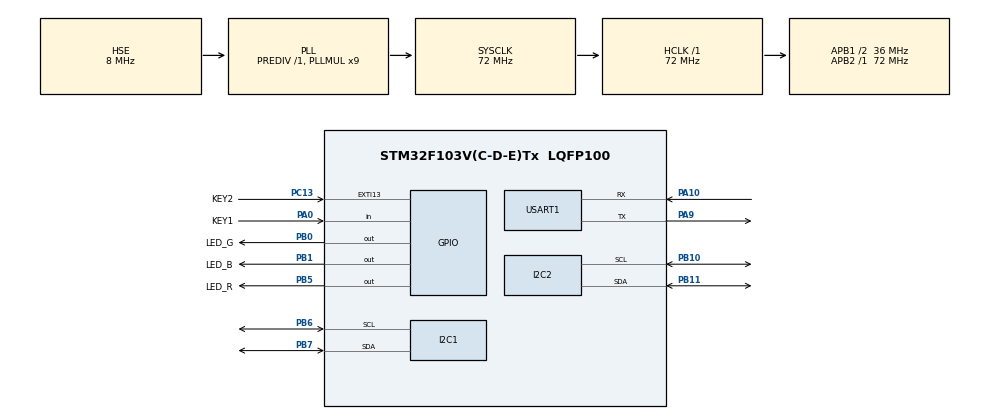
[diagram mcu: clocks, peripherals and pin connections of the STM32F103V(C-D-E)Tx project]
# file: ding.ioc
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Mcu.Family=STM32F1
Mcu.Name=STM32F103V(C-D-E)Tx
Mcu.Package=LQFP100
NVIC.EXTI15_10_IRQn=true\:6\:0\:true\:false\:true\:true\:true
NVIC.PriorityGroup=NVIC_PRIORITYGROUP_4
NVIC.TIM2_IRQn=true\:0\:0\:false\:false\:true\:false\:true
NVIC.TimeBase=TIM2_IRQn
NVIC.TimeBaseIP=TIM2
NVIC.USART1_IRQn=true\:5\:0\:true\:false\:true\:true\:true
OSC_IN.Mode=HSE-External-Oscillator
OSC_IN.Signal=RCC_OSC_IN
OSC_OUT.Mode=HSE-External-Oscillator
OSC_OUT.Signal=RCC_OSC_OUT
PA0-WKUP.GPIO_Label=KEY1
PA0-WKUP.Signal=GPIO_Input
PA10.Mode=Asynchronous
PA10.Signal=USART1_RX
PA13.Mode=Serial_Wire
PA13.Signal=SYS_JTMS-SWDIO
PA14.Mode=Serial_Wire
PA14.Signal=SYS_JTCK-SWCLK
PA9.Mode=Asynchronous
PA9.Signal=USART1_TX
PB0.GPIO_Label=LED_G
PB0.GPIO_Speed=GPIO_SPEED_FREQ_HIGH
PB0.PinState=GPIO_PIN_SET
PB0.Signal=GPIO_Output
PB1.GPIO_Label=LED_B
PB1.GPIO_Speed=GPIO_SPEED_FREQ_HIGH
PB1.PinState=GPIO_PIN_SET
PB1.Signal=GPIO_Output
PB10.Mode=I2C
PB10.Signal=I2C2_SCL
PB11.Mode=I2C
PB11.Signal=I2C2_SDA
PB5.GPIO_Label=LED_R
PB5.GPIO_Speed=GPIO_SPEED_FREQ_HIGH
PB5.PinState=GPIO_PIN_SET
PB5.Signal=GPIO_Output
PB6.Mode=I2C
PB6.Signal=I2C1_SCL
PB7.Mode=I2C
PB7.Signal=I2C1_SDA
PC13-TAMPER-RTC.GPIO_Label=KEY2
PC13-TAMPER-RTC.Signal=GPXTI13
ProjectManager.HeapSize=0x0
ProjectManager.StackSize=0x400
ProjectManager.TargetToolchain=MDK-ARM V5
RCC.AHBFreq_Value=72000000
RCC.APB1CLKDivider=RCC_HCLK_DIV2
RCC.APB1Freq_Value=36000000
RCC.APB1TimFreq_Value=72000000
RCC.APB2Freq_Value=72000000
RCC.APB2TimFreq_Value=72000000
RCC.HCLKFreq_Value=72000000
RCC.PLLMUL=RCC_PLL_MUL9
RCC.PLLSourceVirtual=RCC_PLLSOURCE_HSE
RCC.SYSCLKFreq_VALUE=72000000
RCC.SYSCLKSource=RCC_SYSCLKSOURCE_PLLCLK
RCC.USBFreq_Value=72000000
USART1.VirtualMode=VM_ASYNC
VP_SYS_VS_tim2.Mode=TIM2
board=custom

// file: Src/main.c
/* USER CODE BEGIN Header */
/**
  ******************************************************************************
  * @file           : main.c
  * @brief          : Main program body
  ******************************************************************************
  * @attention
  *
  * <h2><center>&copy; Copyright (c) 2020 STMicroelectronics.
  * All rights reserved.</center></h2>
  *
  * This software component is licensed by ST under BSD 3-Clause license,
  * the "License"; You may not use this file except in compliance with the
  * License. You may obtain a copy of the License at:
  *                        opensource.org/licenses/BSD-3-Clause
  *
  ******************************************************************************
  */
/* USER CODE END Header */

#include "main.h"
#include "i2c.h"
#include "usart.h"
#include "gpio.h"

/* USER CODE BEGIN Includes */
#include "bsp_led.h"
#include "bsp_key.h"
#include "bsp_usart.h"

#include "FreeRTOS.h"
#include "task.h"
#include "queue.h"
#include "semphr.h"
#include "event_groups.h"

/* USER CODE END Includes */

void SystemClock_Config(void);
/* USER CODE BEGIN PFP */
void start_task(void *pvParameters);
void event_set_bit_task(void *pvParameters);
void event_group_task(void *pvParameters);

/* USER CODE END PFP */

/* USER CODE BEGIN 0 */
#define START_TASK_SIZE     256
#define START_TASK_PRIO     1
TaskHandle_t Start_Task_Handle;

#define EVENT_SET_BIT_TASK_SIZE   256
#define EVENT_SET_BIT_TASK_PRIO   2
TaskHandle_t event_set_bit_Task_Handle;

#define EVENT_GROUP_TASK_SIZE     256
#define EVENT_GROUP_TASK_PRIO     3
TaskHandle_t event_group_Task_Handle;

EventGroupHandle_t event_group_handle;    // 事件组

/* USER CODE END 0 */

int main(void)
{

  /* MCU Configuration--------------------------------------------------------*/

  /* Reset of all peripherals, Initializes the Flash interface and the Systick. */
  HAL_Init();

  /* Configure the system clock */
  SystemClock_Config();

  /* Initialize all configured peripherals */
  MX_GPIO_Init();
  MX_USART1_UART_Init();
  MX_I2C1_Init();
  MX_I2C2_Init();
  /* USER CODE BEGIN 2 */

  // 创建开始任务
  xTaskCreate((TaskFunction_t ) start_task,
              (char *         ) "start_task",
              (uint16_t       ) START_TASK_SIZE,
              (void *         ) NULL,
              (UBaseType_t    ) START_TASK_PRIO,
              (TaskHandle_t * ) &Start_Task_Handle);

  vTaskStartScheduler();    // 开启调度器

  /* USER CODE END 2 */

  /* Infinite loop */
  while (1)
  {

  }
}

void SystemClock_Config(void)
{
  RCC_OscInitTypeDef RCC_OscInitStruct = {0};
  RCC_ClkInitTypeDef RCC_ClkInitStruct = {0};

  /** Initializes the CPU, AHB and APB busses clocks
  */
  RCC_OscInitStruct.OscillatorType = RCC_OSCILLATORTYPE_HSE;
  RCC_OscInitStruct.HSEState = RCC_HSE_ON;
  RCC_OscInitStruct.HSEPredivValue = RCC_HSE_PREDIV_DIV1;
  RCC_OscInitStruct.HSIState = RCC_HSI_ON;
  RCC_OscInitStruct.PLL.PLLState = RCC_PLL_ON;
  RCC_OscInitStruct.PLL.PLLSource = RCC_PLLSOURCE_HSE;
  RCC_OscInitStruct.PLL.PLLMUL = RCC_PLL_MUL9;
  if (HAL_RCC_OscConfig(&RCC_OscInitStruct) != HAL_OK)
  {
    Error_Handler();
  }
  /** Initializes the CPU, AHB and APB busses clocks
  */
  RCC_ClkInitStruct.ClockType = RCC_CLOCKTYPE_HCLK|RCC_CLOCKTYPE_SYSCLK
                              |RCC_CLOCKTYPE_PCLK1|RCC_CLOCKTYPE_PCLK2;
  RCC_ClkInitStruct.SYSCLKSource = RCC_SYSCLKSOURCE_PLLCLK;
  RCC_ClkInitStruct.AHBCLKDivider = RCC_SYSCLK_DIV1;
  RCC_ClkInitStruct.APB1CLKDivider = RCC_HCLK_DIV2;
  RCC_ClkInitStruct.APB2CLKDivider = RCC_HCLK_DIV1;

  if (HAL_RCC_ClockConfig(&RCC_ClkInitStruct, FLASH_LATENCY_2) != HAL_OK)
  {
    Error_Handler();
  }
}

/* USER CODE BEGIN 4 */

void start_task(void *pvParameters)
{
  taskENTER_CRITICAL();

  event_group_handle = xEventGroupCreate();   // 创建事件组
  if (event_group_handle != NULL)
  {
    printf("事件组创建成功\r\n");
  }

  // 创建设置事件位任务
  xTaskCreate((TaskFunction_t ) event_set_bit_task,
              (char *         ) "event_set_bit_task",
              (uint16_t       ) EVENT_SET_BIT_TASK_SIZE,
              (void *         ) NULL,
              (UBaseType_t    ) EVENT_SET_BIT_TASK_PRIO,
              (TaskHandle_t * ) &event_set_bit_Task_Handle);
  // 创建事件组任务
  xTaskCreate((TaskFunction_t ) event_group_task,
              (char *         ) "event_group_task",
              (uint16_t       ) EVENT_GROUP_TASK_SIZE,
              (void *         ) NULL,
              (UBaseType_t    ) EVENT_GROUP_TASK_PRIO,
              (TaskHandle_t * ) &event_group_Task_Handle);
  // 删除开始任务
  vTaskDelete(Start_Task_Handle);

  taskEXIT_CRITICAL();
}

void event_set_bit_task(void *pvParameters)
{
  EventBits_t event_value;
  for (;;)
  {
    if (key_scan(KEY1_GPIO_Port, KEY1_Pin) == KEY_ON)
    {
      xEventGroupSetBits(event_group_handle, EVENT_BIT_1);
      event_value = xEventGroupGetBits(event_group_handle);
      printf("发送事件位EVENT_BIT_1，事件位的值为%#X\n", event_value & (0X0F));
    }
    vTaskDelay(50);
  }
}

void event_group_task(void *pvParameters)
{
  EventBits_t uxBits;
  for (;;)
  {
    uxBits = xEventGroupWaitBits(event_group_handle,
					                       EVENT_BIT_1 | EVENT_BIT_2,
					                       pdTRUE,
                                 pdTRUE,
					                       portMAX_DELAY);
    printf("全部事件位获取成功，事件组的值为%#x\r\n", uxBits);
    vTaskDelay(50);
  }
}

/* USER CODE END 4 */

void HAL_TIM_PeriodElapsedCallback(TIM_HandleTypeDef *htim)
{
  if (htim->Instance == TIM2) {
    HAL_IncTick();
  }
}

void Error_Handler(void)
{
}

/************************ (C) COPYRIGHT STMicroelectronics *****END OF FILE****/
